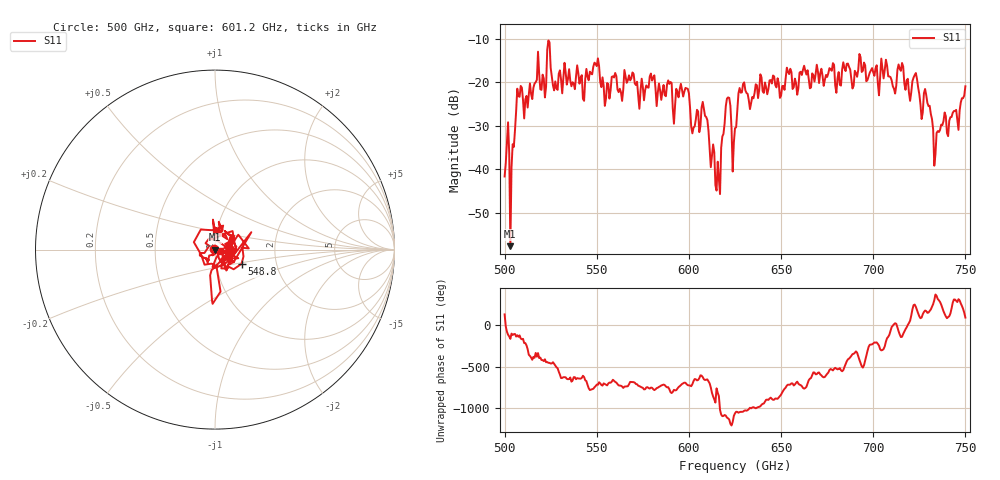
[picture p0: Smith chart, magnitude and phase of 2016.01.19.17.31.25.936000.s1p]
!Created with skrf (http://scikit-rf.org).
# GHz S RI R 50.0
!freq ReS11 ImS11
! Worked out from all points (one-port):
!   401 points, 500 GHz to 750 GHz, reference 50 ohm
!   lowest |S11| = -57.7 dB at 503.1 GHz (marker M1), VSWR 1.00, Z = 49.9 - j0.0394 ohm
!   |S11| at or under -10 dB: start of sweep to end of sweep
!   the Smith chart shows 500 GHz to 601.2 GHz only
!   S11 on the Smith chart (normalised r, x): 500 GHz: 0.99, +0.01; 548.8 GHz: 1.33, -0.22; 601.2 GHz: 1.06, -0.02
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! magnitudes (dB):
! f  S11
! 500 GHz  -41.7
! 503.1 GHz  -57.7
! 504.4 GHz  -34.3
! 505.6 GHz  -31.1
! 508.1 GHz  -23.3
! 521.2 GHz  -19.1
! 524.4 GHz  -10.8
! 527.5 GHz  -19.8
! 531.2 GHz  -22.5
! 548.8 GHz  -15.5
! 562.5 GHz  -21.5
! 580 GHz  -19.6
! 593.8 GHz  -22.2
! 598.8 GHz  -21.4
! 601.2 GHz  -30.3
! 608.8 GHz  -27.7
! 615.6 GHz  -38.3
! 621.2 GHz  -23.5
! 625 GHz  -30.6
! 628.8 GHz  -22.3
! 656.2 GHz  -21.6
! 687.5 GHz  -17.1
! 711.2 GHz  -21.5
! 715 GHz  -17.4
! 718.8 GHz  -19.2
! 728.8 GHz  -22.9
! 734.4 GHz  -31.7
! 750 GHz  -20.9
